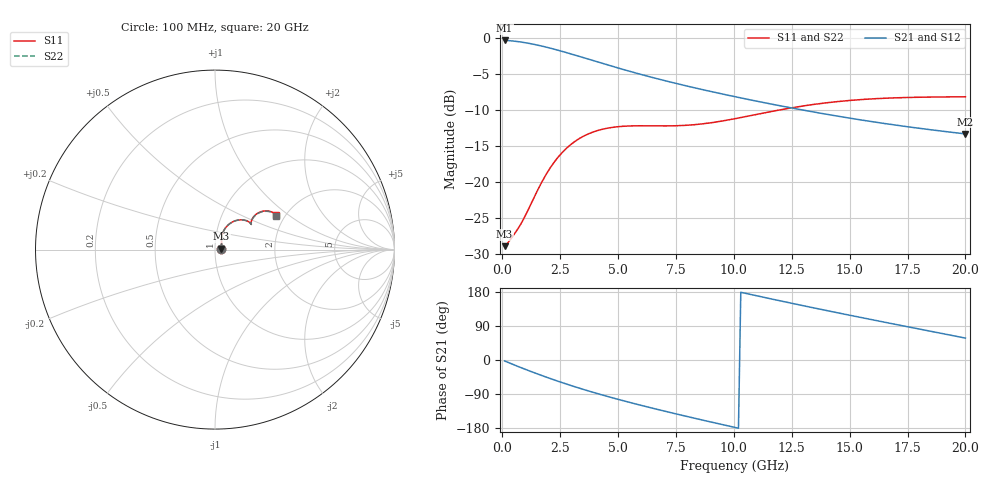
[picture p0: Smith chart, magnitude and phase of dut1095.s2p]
! Touchstone file exported from HFSS 2024.1.0
!  File:  C:/UserFiles/LocalFiles/RDL_TSV_Batchsim/temp_RDL_TSV_1095_1780098834.aedt
!  Generated:  08:07:16 AM May 30, 2026
!  Design:  RDL_TSV
!  Project:  temp_RDL_TSV_1095_1780098834
!  Setup:  Setup1
!  Solution:  Sweep
! Variables:
!  dtsv = 11.85um
!  hbump = 3um
!  htsv = 94.31um
!  ldown = 692.31um
!  lrdl = 515.47um
!  p = 40
!  p1 = 40.93um
!  rhole = 10um
!  subl = 4138.81um
!  t = 450um
!  tdown = 3.59um
!  trdl = 3.17um
!  viad = 10um
!  wdown = 14.86um
!  wrdl = 10.02um
!  xbump = 18um
# GHz S MA R 50.000000
! Terminal data exported
! Port[1] = TM1_1_T1
! Port[2] = TM1_4_T1
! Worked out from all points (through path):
!   200 points, 100 MHz to 20 GHz, reference 50 ohm
!   highest |S21| = -0.32 dB at 100 MHz (marker M1); lowest = -13.3 dB at 20 GHz (marker M2)
!   group delay of S21, straight-line fit = 39.9 ps
!   lowest |S11| = -28.9 dB at 100 MHz (marker M3), VSWR 1.07, Z = 53.7 + j0.526 ohm
!   |S11| at or under -10 dB: start of sweep to 11.93 GHz
!   |S22| runs from -28.9 to -8.2 dB; largest |S21 - S12| = 8.3e-15
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0.1  0.03594 7.8  0.964 -2.6  0.964 -2.6  0.03594 7.8
! Gamma 0 0 0 0
! Port Impedance 50 0 50 0
0.4  0.04099 26.7  0.9577 -10.2  0.9577 -10.2  0.04099 26.7
0.8  0.05121 45.3  0.9405 -20.0  0.9405 -20.0  0.0512 45.3
1.3  0.07403 60.7  0.9105 -31.8  0.9105 -31.8  0.07402 60.7
1.8  0.1067 65.3  0.8741 -43.1  0.8741 -43.1  0.1066 65.3
2.2  0.1348 64.2  0.842 -51.7  0.842 -51.7  0.1347 64.2
2.6  0.1614 61.1  0.8084 -60.1  0.8084 -60.1  0.1614 61.1
3  0.1848 57.2  0.7745 -68.1  0.7745 -68.1  0.1848 57.2
3.5  0.2083 52.1  0.7328 -77.6  0.7328 -77.6  0.2083 52.1
4.3  0.2326 44.8  0.6701 -92.0  0.6701 -92.0  0.2327 44.8
5.1  0.2436 39.3  0.614 -105.5  0.614 -105.5  0.2438 39.3
5.9  0.2464 36.0  0.565 -118.2  0.565 -118.2  0.2467 35.9
6.8  0.2459 34.8  0.5174 -131.9  0.5174 -131.9  0.2464 34.7
7.5  0.2465 35.2  0.4851 -142.2  0.4851 -142.2  0.247 35.1
8.3  0.2507 36.7  0.4522 -153.7  0.4522 -153.7  0.2512 36.5
10.1  0.2769 40.1  0.3907 -178.6  0.3907 -178.6  0.277 39.8
11.7  0.3113 40.5  0.3465 160.0  0.3465 160.0  0.3108 40.2
13.4  0.3457 38.4  0.308 138.1  0.308 138.1  0.3448 38.1
15  0.3693 35.5  0.2784 118.1  0.2784 118.1  0.368 35.2
16.7  0.3838 32.4  0.2528 97.4  0.2528 97.4  0.3822 32.2
18.3  0.3896 30.3  0.2334 78.2  0.2334 78.2  0.3878 30.1
20  0.3916 29.1  0.2164 57.8  0.2164 57.8  0.3898 28.9
